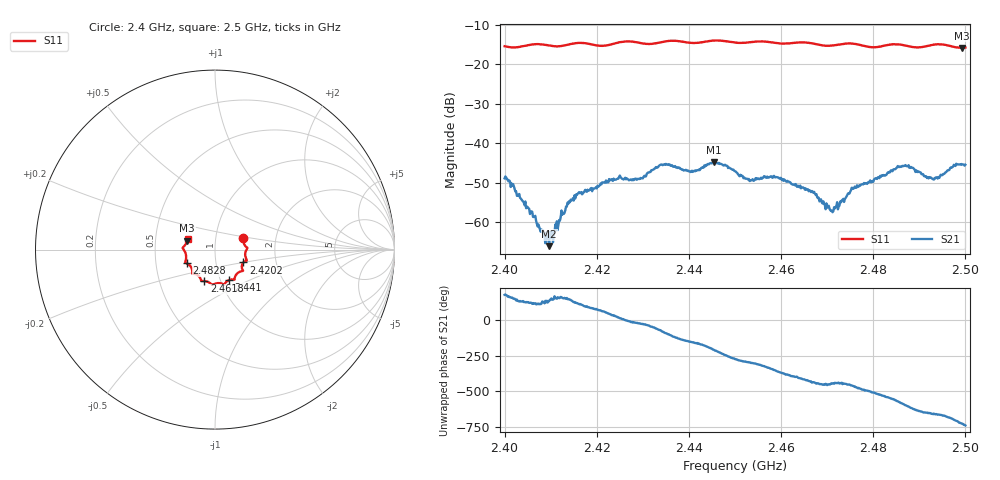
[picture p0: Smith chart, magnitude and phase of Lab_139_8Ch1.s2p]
# Hz S RI R 50
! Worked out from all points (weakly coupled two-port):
!   601 points, 2.4 GHz to 2.5 GHz, reference 50 ohm
!   highest |S21| = -44.74 dB at 2.4455 GHz (marker M1); lowest = -66.0 dB at 2.4097 GHz (marker M2)
!   lowest |S11| = -15.8 dB at 2.4992 GHz (marker M3), VSWR 1.39, Z = 36.5 + j3.67 ohm
!   |S11| at or under -10 dB: start of sweep to end of sweep
!   S12 and S22 are empty: the file has one direction only
!   S11 on the Smith chart (normalised r, x): 2.4 GHz: 1.36, +0.18; 2.4202 GHz: 1.36, -0.20; 2.441 GHz: 1.10, -0.39; 2.4618 GHz: 0.84, -0.30; 2.4828 GHz: 0.72, -0.11; 2.5 GHz: 0.73, +0.09
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2.4e9  0.1582 0.0627  -0.00361 0.000152  0 0  0 0
2.408333e9  0.1788 0.0053  -0.000484 0.000632  0 0  0 0
2.409667e9  0.1735 -0.00323  -0.000345 0.000362  0 0  0 0
2.413833e9  0.1721 -0.0476  -0.00148 0.000893  0 0  0 0
2.416667e9  0.1774 -0.0606  -0.000797 0.00228  0 0  0 0
2.420167e9  0.1583 -0.0714  0.000858 0.00277  0 0  0 0
2.4295e9  0.1411 -0.1223  0.0033 -0.00157  0 0  0 0
2.433333e9  0.1118 -0.151  0.00203 -0.00462  0 0  0 0
2.441e9  0.0783 -0.1697  -0.00406 -0.0018  0 0  0 0
2.4455e9  0.0511 -0.1942  -0.00495 0.00302  0 0  0 0
2.45e9  0.0283 -0.1872  0.000411 0.00442  0 0  0 0
2.453167e9  -0.00198 -0.191  0.00152 0.00297  0 0  0 0
2.461833e9  -0.0594 -0.1756  0.00289 -0.00146  0 0  0 0
2.466667e9  -0.0785 -0.1681  0.000457 -0.00246  0 0  0 0
2.471167e9  -0.1059 -0.1376  0.000115 -0.00134  0 0  0 0
2.475667e9  -0.1273 -0.1321  -0.000627 -0.00259  0 0  0 0
2.482833e9  -0.1574 -0.0768  -0.00399 0.000111  0 0  0 0
2.483333e9  -0.1605 -0.0754  -0.00425 0.00037  0 0  0 0
2.487167e9  -0.1626 -0.0582  -0.00248 0.00453  0 0  0 0
2.4935e9  -0.1792 0.00671  0.00198 0.00303  0 0  0 0
2.499167e9  -0.1546 0.049  0.00545 -0.000629  0 0  0 0
2.5e9  -0.1522 0.0609  0.00498 -0.00197  0 0  0 0
